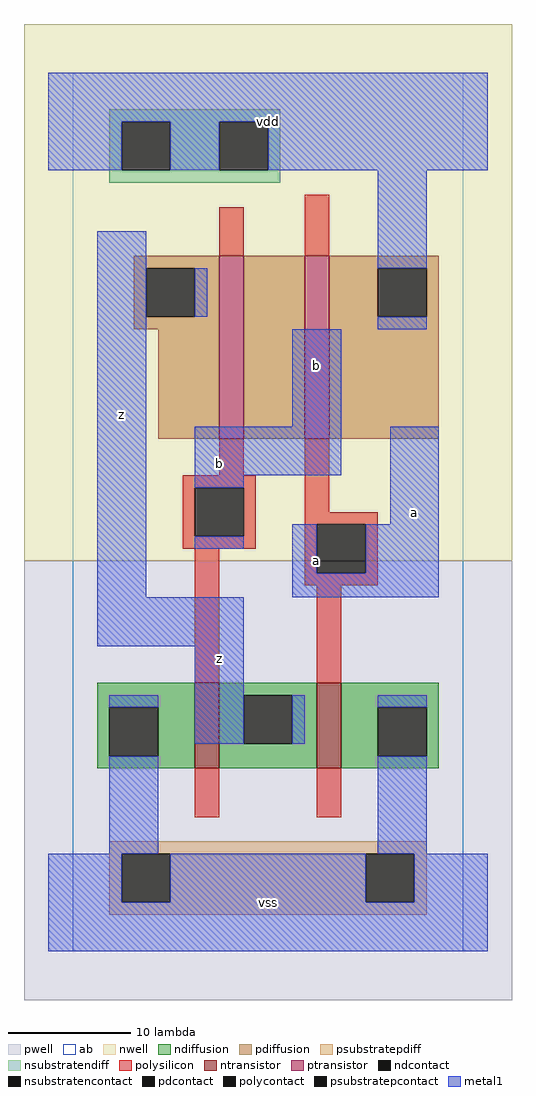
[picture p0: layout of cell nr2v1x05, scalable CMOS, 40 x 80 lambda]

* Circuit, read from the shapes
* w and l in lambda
.subckt nr2v1x05 a b vdd vss z
M1 z b vss vss nfet w=7 l=2
M2 vss a z vss nfet w=7 l=2
M3 n1 b z vdd pfet w=15 l=2
M4 vdd a n1 vdd pfet w=15 l=2
.ends

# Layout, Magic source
magic
tech scmos
<< ab >>
rect 0 0 32 72
<< pwell >>
rect -4 -4 36 32
<< nwell >>
rect -4 32 36 76
<< polysilicon >>
rect 12 57 14 61
rect 19 57 21 62
rect 12 39 14 42
rect 9 38 15 39
rect 9 34 10 38
rect 14 34 15 38
rect 9 33 15 34
rect 19 36 21 42
rect 19 35 25 36
rect 10 22 12 33
rect 19 31 20 35
rect 24 31 25 35
rect 19 30 25 31
rect 20 22 22 30
rect 10 11 12 15
rect 20 11 22 15
<< ndiffusion >>
rect 2 20 10 22
rect 2 16 3 20
rect 7 16 10 20
rect 2 15 10 16
rect 12 21 20 22
rect 12 17 14 21
rect 18 17 20 21
rect 12 15 20 17
rect 22 20 30 22
rect 22 16 25 20
rect 29 16 30 20
rect 22 15 30 16
<< pdiffusion >>
rect 5 56 12 57
rect 5 52 6 56
rect 10 52 12 56
rect 5 51 12 52
rect 7 42 12 51
rect 14 42 19 57
rect 21 56 30 57
rect 21 52 25 56
rect 29 52 30 56
rect 21 42 30 52
<< metal1 >>
rect -2 68 34 72
rect -2 64 4 68
rect 8 64 12 68
rect 16 64 34 68
rect 2 29 6 59
rect 25 56 29 64
rect 10 52 11 56
rect 25 51 29 52
rect 18 43 22 51
rect 10 39 22 43
rect 10 38 14 39
rect 26 35 30 43
rect 10 33 14 34
rect 18 31 20 35
rect 24 31 30 35
rect 18 29 30 31
rect 2 25 14 29
rect 3 20 7 21
rect 10 17 14 25
rect 18 17 19 21
rect 25 20 29 21
rect 3 8 7 16
rect 25 8 29 16
rect -2 4 4 8
rect 8 4 24 8
rect 28 4 34 8
rect -2 0 34 4
<< ntransistor >>
rect 10 15 12 22
rect 20 15 22 22
<< ptransistor >>
rect 12 42 14 57
rect 19 42 21 57
<< polycontact >>
rect 10 34 14 38
rect 20 31 24 35
<< ndcontact >>
rect 3 16 7 20
rect 14 17 18 21
rect 25 16 29 20
<< pdcontact >>
rect 6 52 10 56
rect 25 52 29 56
<< psubstratepcontact >>
rect 4 4 8 8
rect 24 4 28 8
<< nsubstratencontact >>
rect 4 64 8 68
rect 12 64 16 68
<< psubstratepdiff >>
rect 3 8 29 9
rect 3 4 4 8
rect 8 4 24 8
rect 28 4 29 8
rect 3 3 29 4
<< nsubstratendiff >>
rect 3 68 17 69
rect 3 64 4 68
rect 8 64 12 68
rect 16 64 17 68
rect 3 63 17 64
<< labels >>
rlabel metal1 4 44 4 44 6 z
rlabel metal1 12 24 12 24 6 z
rlabel metal1 12 40 12 40 6 b
rlabel metal1 16 4 16 4 6 vss
rlabel metal1 20 32 20 32 6 a
rlabel metal1 20 48 20 48 6 b
rlabel metal1 16 68 16 68 6 vdd
rlabel metal1 28 36 28 36 6 a
<< end >>
